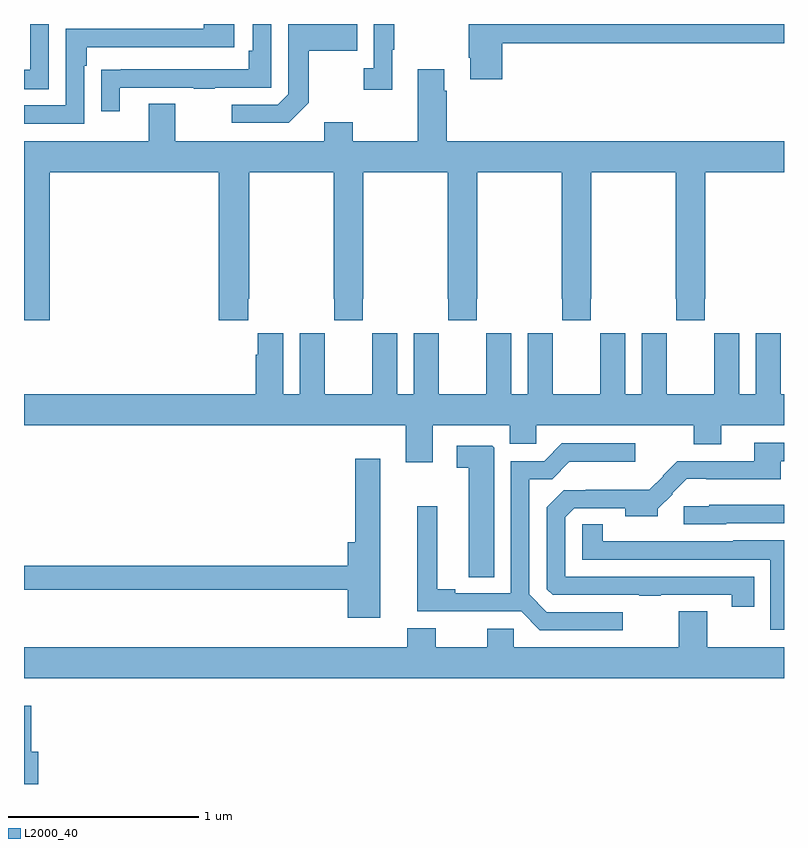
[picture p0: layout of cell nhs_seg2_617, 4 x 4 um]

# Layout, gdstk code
import gdstk
lib = gdstk.Library(unit=1e-6, precision=1e-09)
def P(c, l, *ps):  # polygons
    for p in ps: c.add(gdstk.Polygon(p, *l))
L2000_40 = (2000, 40)

nhs_seg2_617 = lib.new_cell('nhs_seg2_617')
P(nhs_seg2_617, L2000_40, [(143.503,597.465),(143.893,597.465),(143.893,597.46),(144.005,597.46),(144.005,597.465),(144.3,597.465),(144.3,597.8),(144.204,597.8),(144.204,597.658),(144.184,597.658),(144.184,597.561),(143.509,597.561),(143.509,597.56),(143.407,597.56),(143.407,597.342),(143.503,597.342)],
  [(145.517,597.7),(147,597.7),(147,597.8),(145.342,597.8),(145.342,597.622),(145.349,597.622),(145.349,597.51),(145.517,597.51)],
  [(144.499,597.385),(144.499,597.658),(144.755,597.658),(144.755,597.8),(144.39,597.8),(144.39,597.429),(144.336,597.375),(144.093,597.375),(144.093,597.279),(144.393,597.279)],
  [(144.937,597.665),(144.949,597.665),(144.949,597.8),(144.84,597.8),(144.84,597.566),(144.789,597.566),(144.789,597.453),(144.937,597.453)],
  [(143.13,597.8),(143.034,597.8),(143.034,597.558),(143,597.558),(143,597.457),(143.13,597.457)],
  [(143.316,597.581),(143.329,597.581),(143.329,597.678),(144.106,597.678),(144.106,597.8),(143.945,597.8),(143.945,597.774),(143.22,597.774),(143.22,597.372),(143,597.372),(143,597.276),(143.316,597.276)],
  [(143.135,597.02),(144.026,597.02),(144.026,596.241),(144.179,596.241),(144.179,596.353),(144.186,596.353),(144.186,597.02),(144.631,597.02),(144.631,596.353),(144.633,596.353),(144.633,596.241),(144.783,596.241),(144.783,596.353),(144.786,596.353),(144.786,597.02),(145.231,597.02),(145.231,596.353),(145.233,596.353),(145.233,596.241),(145.383,596.241),(145.383,596.353),(145.386,596.353),(145.386,597.02),(145.831,597.02),(145.831,596.353),(145.833,596.353),(145.833,596.241),(145.983,596.241),(145.983,596.353),(145.986,596.353),(145.986,597.02),(146.431,597.02),(146.431,596.353),(146.433,596.353),(146.433,596.241),(146.583,596.241),(146.583,596.353),(146.586,596.353),(146.586,597.02),(147,597.02),(147,597.184),(145.226,597.184),(145.226,597.449),(145.213,597.449),(145.213,597.562),(145.073,597.562),(145.073,597.184),(144.729,597.184),(144.729,597.283),(144.581,597.283),(144.581,597.184),(143.797,597.184),(143.797,597.379),(143.657,597.379),(143.657,597.184),(143,597.184),(143,596.241),(143.135,596.241)],
  [(144.834,596.173),(144.834,596.06),(144.833,596.06),(144.833,595.852),(144.583,595.852),(144.583,596.06),(144.582,596.06),(144.582,596.173),(144.452,596.173),(144.452,595.852),(144.364,595.852),(144.364,596.173),(144.23,596.173),(144.23,596.06),(144.221,596.06),(144.221,595.852),(143,595.852),(143,595.688),(145.01,595.688),(145.01,595.494),(145.15,595.494),(145.15,595.688),(145.556,595.688),(145.556,595.59),(145.695,595.59),(145.695,595.688),(146.524,595.688),(146.524,595.589),(146.671,595.589),(146.671,595.688),(147,595.688),(147,595.852),(146.983,595.852),(146.983,596.06),(146.982,596.06),(146.982,596.173),(146.852,596.173),(146.852,595.852),(146.764,595.852),(146.764,596.173),(146.634,596.173),(146.634,596.06),(146.633,596.06),(146.633,595.852),(146.383,595.852),(146.383,596.06),(146.382,596.06),(146.382,596.173),(146.252,596.173),(146.252,595.852),(146.164,595.852),(146.164,596.173),(146.034,596.173),(146.034,596.06),(146.033,596.06),(146.033,595.852),(145.783,595.852),(145.783,596.06),(145.782,596.06),(145.782,596.173),(145.652,596.173),(145.652,595.852),(145.564,595.852),(145.564,596.173),(145.434,596.173),(145.434,596.06),(145.433,596.06),(145.433,595.852),(145.183,595.852),(145.183,596.06),(145.182,596.06),(145.182,596.173),(145.052,596.173),(145.052,595.852),(144.964,595.852),(144.964,596.173)],
  [(146.843,594.891),(145.848,594.891),(145.848,595.203),(145.896,595.251),(146.165,595.251),(146.165,595.208),(146.336,595.208),(146.336,595.248),(146.415,595.326),(146.412,595.329),(146.489,595.406),(146.59,595.406),(146.59,595.403),(146.983,595.403),(146.983,595.5),(147,595.5),(147,595.596),(146.843,595.596),(146.843,595.5),(146.439,595.5),(146.363,595.423),(146.365,595.421),(146.291,595.348),(145.957,595.348),(145.957,595.346),(145.841,595.346),(145.752,595.257),(145.752,594.825),(145.782,594.795),(146.239,594.795),(146.239,594.79),(146.351,594.79),(146.351,594.795),(146.725,594.795),(146.725,594.732),(146.843,594.732)],
  [(146.152,594.705),(145.752,594.705),(145.659,594.798),(145.659,595.405),(145.78,595.405),(145.871,595.496),(146.218,595.496),(146.218,595.593),(145.83,595.593),(145.737,595.5),(145.563,595.5),(145.563,594.804),(145.27,594.804),(145.27,594.824),(145.174,594.824),(145.174,595.261),(145.07,595.261),(145.07,594.708),(145.616,594.708),(145.715,594.609),(146.152,594.609)],
  [(145.474,595.571),(145.464,595.581),(145.278,595.581),(145.278,595.465),(145.34,595.465),(145.34,594.889),(145.474,594.889)],
  [(144.874,595.513),(144.743,595.513),(144.743,595.072),(144.704,595.072),(144.704,594.95),(143,594.95),(143,594.822),(144.704,594.822),(144.704,594.674),(144.874,594.674)],
  [(146.697,595.173),(147,595.173),(147,595.27),(146.607,595.27),(146.607,595.263),(146.472,595.263),(146.472,595.167),(146.697,595.167)],
  [(147,595.084),(146.733,595.084),(146.733,595.077),(146.301,595.077),(146.301,595.078),(146.047,595.078),(146.047,595.166),(145.938,595.166),(145.938,594.981),(146.928,594.981),(146.928,594.612),(147,594.612)],
  [(147,594.52),(146.595,594.52),(146.595,594.71),(146.447,594.71),(146.447,594.52),(145.578,594.52),(145.578,594.618),(145.439,594.618),(145.439,594.52),(145.168,594.52),(145.168,594.619),(145.016,594.619),(145.016,594.52),(143,594.52),(143,594.356),(147,594.356)],
  [(143.075,593.97),(143.039,593.97),(143.039,594.211),(143,594.211),(143,593.8),(143.075,593.8)])

lib.write_gds('nhs_seg2_617.gds')
